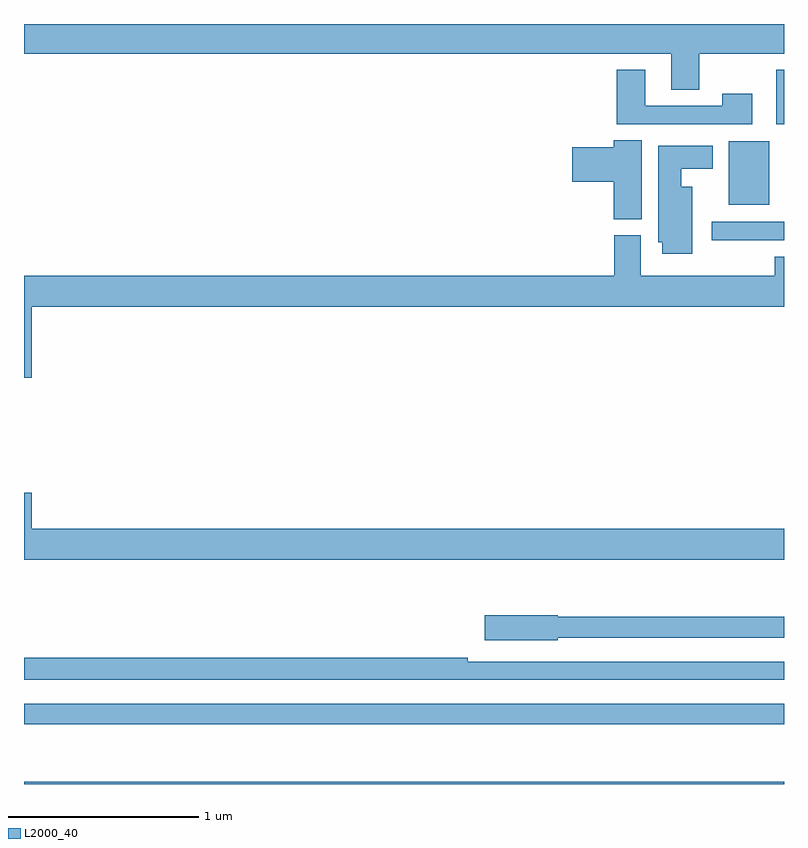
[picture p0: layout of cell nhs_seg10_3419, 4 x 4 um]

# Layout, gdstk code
import gdstk
lib = gdstk.Library(unit=1e-6, precision=1e-09)
def R(c, l, rs):  # rectangles x0, y0, x1, y1
    for r in rs: c.add(gdstk.rectangle(r[:2], r[2:], *l))
def P(c, l, *ps):  # polygons
    for p in ps: c.add(gdstk.Polygon(p, *l))
L2000_40 = (2000, 40)

nhs_seg10_3419 = lib.new_cell('nhs_seg10_3419')
R(nhs_seg10_3419, L2000_40, [(297,1268.5,301,1268.512), (297,1268.814,301,1268.922), (300.621,1271.363,301,1271.46), (300.71,1271.549,300.922,1271.884), (300.959,1271.972,301,1272.259)])
P(nhs_seg10_3419, L2000_40, [(300.555,1272.344),(301,1272.344),(301,1272.5),(297,1272.5),(297,1272.344),(300.407,1272.344),(300.407,1272.154),(300.555,1272.154)],
  [(300.832,1272.133),(300.676,1272.133),(300.676,1272.069),(300.271,1272.069),(300.271,1272.259),(300.119,1272.259),(300.119,1271.973),(300.832,1271.973)],
  [(300.25,1271.888),(300.104,1271.888),(300.104,1271.852),(299.886,1271.852),(299.886,1271.669),(300.104,1271.669),(300.104,1271.473),(300.25,1271.473)],
  [(300.517,1271.644),(300.46,1271.644),(300.46,1271.738),(300.625,1271.738),(300.625,1271.86),(300.338,1271.86),(300.338,1271.352),(300.359,1271.352),(300.359,1271.292),(300.517,1271.292)],
  [(297.04,1271.012),(301,1271.012),(301,1271.275),(300.952,1271.275),(300.952,1271.176),(300.247,1271.176),(300.247,1271.388),(300.107,1271.388),(300.107,1271.176),(297,1271.176),(297,1270.638),(297.04,1270.638)],
  [(301,1269.844),(297.04,1269.844),(297.04,1270.033),(297,1270.033),(297,1269.68),(301,1269.68)],
  [(299.808,1269.27),(301,1269.27),(301,1269.379),(299.808,1269.379),(299.808,1269.387),(299.424,1269.387),(299.424,1269.257),(299.808,1269.257)],
  [(301,1269.144),(299.336,1269.144),(299.336,1269.164),(297,1269.164),(297,1269.048),(301,1269.048)])

lib.write_gds('nhs_seg10_3419.gds')
